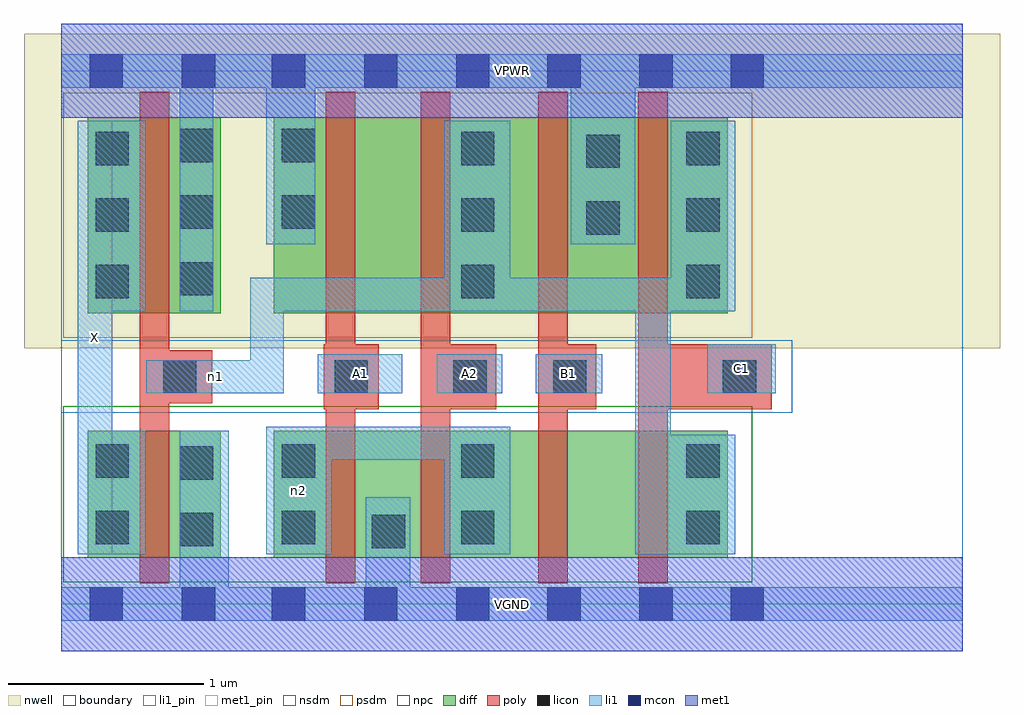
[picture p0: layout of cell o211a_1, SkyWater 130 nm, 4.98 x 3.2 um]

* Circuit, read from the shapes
.subckt o211a_1 A1 A2 B1 C1 VGND VPWR X n1 n2
XM1 VGND n1 X VSUBS sky130_fd_pr__nfet_01v8 w=0.65 l=0.15
XM2 VGND A1 n2 VSUBS sky130_fd_pr__nfet_01v8 w=0.65 l=0.15
XM3 n2 A2 VGND VSUBS sky130_fd_pr__nfet_01v8 w=0.65 l=0.15
XM4 n3 B1 n2 VSUBS sky130_fd_pr__nfet_01v8 w=0.65 l=0.15
XM5 n1 C1 n3 VSUBS sky130_fd_pr__nfet_01v8 w=0.65 l=0.15
XM6 VPWR n1 X n4 sky130_fd_pr__pfet_01v8 w=1 l=0.15
XM7 n5 A1 VPWR n4 sky130_fd_pr__pfet_01v8 w=1 l=0.15
XM8 n1 A2 n5 n4 sky130_fd_pr__pfet_01v8 w=1 l=0.15
XM9 VPWR B1 n1 n4 sky130_fd_pr__pfet_01v8 w=1 l=0.15
XM10 n1 C1 VPWR n4 sky130_fd_pr__pfet_01v8 w=1 l=0.15
.ends

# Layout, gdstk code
import gdstk
lib = gdstk.Library(unit=1e-6, precision=1e-09)
def R(c, l, rs):  # rectangles x0, y0, x1, y1
    for r in rs: c.add(gdstk.rectangle(r[:2], r[2:], *l))
def A(c, l, x, y, w, h, nx, ny, dx, dy):  # array of equal rectangles
    R(c, l, [(x+i*dx, y+j*dy, x+i*dx+w, y+j*dy+h) for i in range(nx) for j in range(ny)])
nwell = (64, 20)
diff = (65, 20)
poly = (66, 20)
licon = (66, 44)
li1_pin = (67, 16)
li1 = (67, 20)
mcon = (67, 44)
met1_pin = (68, 16)
met1 = (68, 20)
nsdm = (93, 44)
psdm = (94, 20)
npc = (95, 20)
boundary = (235, 4)

o211a_1 = lib.new_cell('o211a_1')
R(o211a_1, nwell, [(-0.19,1.305,4.79,2.91), (0,1.305,4.6,2.91)])
R(o211a_1, diff, [(0.135,0.235,0.815,0.885), (1.085,0.235,3.4,0.885), (0.135,1.485,0.815,2.485), (1.085,1.485,3.4,2.485)])
R(o211a_1, poly, [(0.4,0.105,0.55,2.615), (1.35,0.105,1.5,2.615), (1.835,0.105,1.985,2.615), (2.435,0.105,2.585,2.615), (2.945,0.105,3.095,2.615), (1.34,0.995,1.62,1.325), (1.835,0.995,2.22,1.325), (2.435,0.995,2.73,1.325), (2.945,0.995,3.625,1.325), (0.4,1.025,0.77,1.295)])
A(o211a_1, licon, 0.175, 1.56, 0.17, 0.17, 1, 3, 0, 0.34)
A(o211a_1, licon, 2.04, 1.56, 0.17, 0.17, 1, 3, 0, 0.34)
A(o211a_1, licon, 3.19, 1.56, 0.17, 0.17, 1, 3, 0, 0.34)
A(o211a_1, licon, 0.605, 1.575, 0.17, 0.17, 1, 3, 0, 0.34)
R(o211a_1, licon, [(1.585,0.285,1.755,0.455), (0.605,0.295,0.775,0.465), (0.175,0.305,0.345,0.475), (1.125,0.305,1.295,0.475), (2.04,0.305,2.21,0.475), (3.19,0.305,3.36,0.475), (0.605,0.635,0.775,0.805), (0.175,0.645,0.345,0.815), (1.125,0.645,1.295,0.815), (2.04,0.645,2.21,0.815), (3.19,0.645,3.36,0.815), (0.52,1.075,0.69,1.245), (1.395,1.075,1.565,1.245), (2,1.075,2.17,1.245), (2.51,1.075,2.68,1.245), (3.375,1.075,3.545,1.245), (2.68,1.885,2.85,2.055), (1.125,1.915,1.295,2.085), (2.68,2.225,2.85,2.395), (1.125,2.255,1.295,2.425)])
R(o211a_1, li1_pin, [(0.085,0.255,0.26,2.465), (1.31,1.075,1.74,1.275), (1.915,1.075,2.25,1.275), (2.42,1.075,2.76,1.275), (3.295,1.075,3.645,1.325)])
R(o211a_1, li1, [(0,-0.085,4.6,0.085), (0.605,-0.085,0.855,0.885), (1.555,-0.085,1.78,0.545), (0.085,0.255,0.26,2.465), (0.085,0.255,0.43,0.885), (1.045,0.255,1.38,0.905), (1.955,0.255,2.29,0.905), (2.93,0.255,3.44,0.865), (2.93,0.255,3.11,1.665), (1.045,0.735,2.29,0.905), (0.435,1.075,1.135,1.245), (0.965,1.075,1.135,1.665), (1.31,1.075,1.74,1.275), (1.915,1.075,2.25,1.275), (2.42,1.075,2.76,1.275), (3.295,1.075,3.645,1.325), (0.085,1.495,0.43,2.465), (0.605,1.495,0.775,2.805), (0.965,1.495,3.44,1.665), (1.955,1.495,2.29,2.465), (3.11,1.495,3.44,2.465), (1.045,1.835,1.295,2.805), (2.6,1.835,2.93,2.805), (0,2.635,4.6,2.805)])
A(o211a_1, mcon, 1.075, -0.085, 0.17, 0.17, 3, 2, 0.47, 2.72)
R(o211a_1, mcon, [(0.145,-0.085,0.315,0.085), (0.615,-0.085,0.785,0.085), (2.48,-0.085,2.65,0.085), (2.95,-0.085,3.12,0.085), (3.415,-0.085,3.585,0.085), (0.145,2.635,0.315,2.805), (0.615,2.635,0.785,2.805), (2.48,2.635,2.65,2.805), (2.95,2.635,3.12,2.805), (3.415,2.635,3.585,2.805)])
R(o211a_1, met1_pin, [(0,-0.24,4.6,0.24), (0,2.48,4.6,2.96)])
R(o211a_1, met1, [(0,-0.24,4.6,0.24), (0,2.48,4.6,2.96)])
R(o211a_1, nsdm, [(0.01,0.11,3.525,1.01)])
R(o211a_1, psdm, [(0.01,1.36,3.525,2.61)])
R(o211a_1, npc, [(0,0.975,3.73,1.345)])
R(o211a_1, boundary, [(0,0,4.6,2.72)])
o211a_1.add(gdstk.Label('A1', (1.525,1.175), layer=67, texttype=5))
o211a_1.add(gdstk.Label('A2', (2.082,1.175), layer=67, texttype=5))
o211a_1.add(gdstk.Label('B1', (2.59,1.175), layer=67, texttype=5))
o211a_1.add(gdstk.Label('C1', (3.47,1.2), layer=67, texttype=5))
o211a_1.add(gdstk.Label('X', (0.172,1.36), layer=67, texttype=5))
o211a_1.add(gdstk.Label('n2', (1.212,0.58), layer=67, texttype=5))
o211a_1.add(gdstk.Label('n1', (0.785,1.16), layer=67, texttype=5))
o211a_1.add(gdstk.Label('VPWR', (2.3,2.72), layer=68, texttype=5))
o211a_1.add(gdstk.Label('VGND', (2.3,0), layer=68, texttype=5))
o211a_1.add(gdstk.Label('A1', (1.525,1.175), layer=67, texttype=16))
o211a_1.add(gdstk.Label('A2', (2.082,1.175), layer=67, texttype=16))
o211a_1.add(gdstk.Label('B1', (2.59,1.175), layer=67, texttype=16))
o211a_1.add(gdstk.Label('C1', (3.47,1.2), layer=67, texttype=16))
o211a_1.add(gdstk.Label('X', (0.172,1.36), layer=67, texttype=16))
o211a_1.add(gdstk.Label('VPWR', (2.3,2.72), layer=68, texttype=16))
o211a_1.add(gdstk.Label('VGND', (2.3,0), layer=68, texttype=16))

lib.write_gds('o211a_1.gds')
